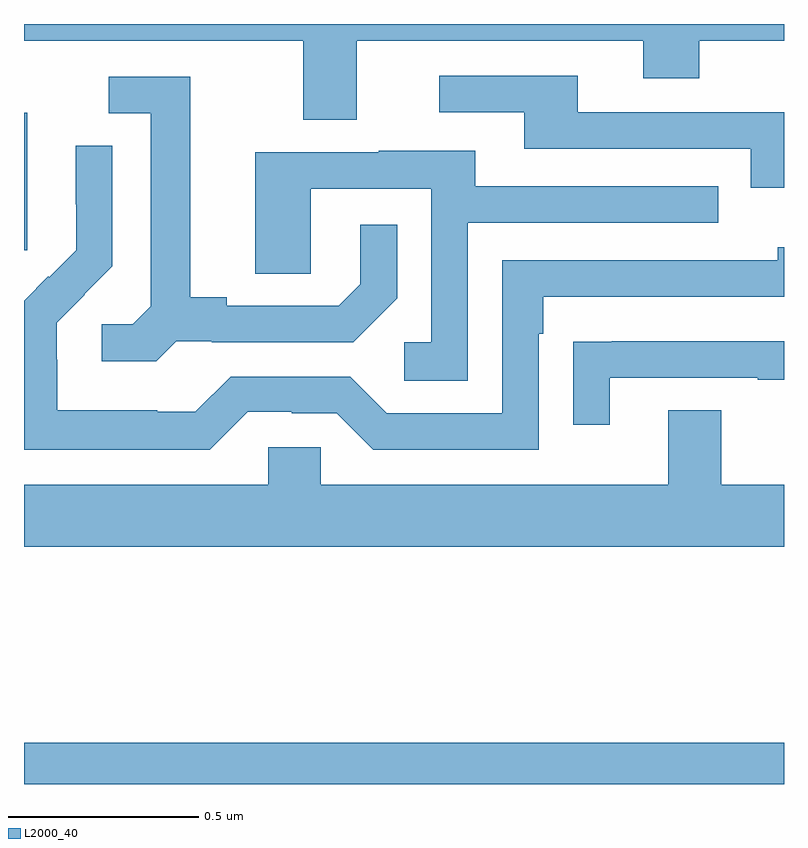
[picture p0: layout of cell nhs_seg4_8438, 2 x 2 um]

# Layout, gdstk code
import gdstk
lib = gdstk.Library(unit=1e-6, precision=1e-09)
def R(c, l, rs):  # rectangles x0, y0, x1, y1
    for r in rs: c.add(gdstk.rectangle(r[:2], r[2:], *l))
def P(c, l, *ps):  # polygons
    for p in ps: c.add(gdstk.Polygon(p, *l))
L2000_40 = (2000, 40)

nhs_seg4_8438 = lib.new_cell('nhs_seg4_8438')
R(nhs_seg4_8438, L2000_40, [(215,758.9,217,759.008), (215,760.305,215.008,760.666)])
P(nhs_seg4_8438, L2000_40, [(215.875,760.856),(216.629,760.856),(216.629,760.757),(216.777,760.757),(216.777,760.856),(217,760.856),(217,760.9),(215,760.9),(215,760.856),(215.735,760.856),(215.735,760.648),(215.875,760.648)],
  [(217,760.668),(216.457,760.668),(216.457,760.764),(216.093,760.764),(216.093,760.668),(216.317,760.668),(216.317,760.572),(216.912,760.572),(216.912,760.469),(217,760.469)],
  [(215.4,760.065),(215.494,760.065),(215.494,760.062),(215.866,760.062),(215.982,760.178),(215.982,760.372),(215.885,760.372),(215.885,760.215),(215.828,760.158),(215.533,760.158),(215.533,760.181),(215.437,760.181),(215.437,760.761),(215.223,760.761),(215.223,760.665),(215.333,760.665),(215.333,760.157),(215.286,760.11),(215.205,760.11),(215.205,760.013),(215.348,760.013)],
  [(215.589,759.879),(215.705,759.879),(215.705,759.876),(215.823,759.876),(215.919,759.78),(216.354,759.78),(216.354,760.085),(216.367,760.085),(216.367,760.182),(217,760.182),(217,760.312),(216.983,760.312),(216.983,760.278),(216.258,760.278),(216.258,759.876),(215.955,759.876),(215.859,759.972),(215.544,759.972),(215.451,759.879),(215.351,759.879),(215.351,759.883),(215.088,759.883),(215.088,760.017),(215.086,760.017),(215.086,760.114),(215.16,760.188),(215.159,760.189),(215.232,760.262),(215.232,760.58),(215.136,760.58),(215.136,760.426),(215.138,760.426),(215.138,760.304),(215.067,760.233),(215.064,760.236),(215,760.172),(215,759.779),(215.489,759.779)],
  [(216.168,760.377),(216.827,760.377),(216.827,760.473),(216.187,760.473),(216.187,760.567),(215.933,760.567),(215.933,760.563),(215.609,760.563),(215.609,760.243),(215.754,760.243),(215.754,760.467),(216.072,760.467),(216.072,760.062),(216,760.062),(216,759.961),(216.168,759.961)],
  [(216.541,759.969),(216.931,759.969),(216.931,759.964),(217,759.964),(217,760.065),(216.547,760.065),(216.547,760.064),(216.445,760.064),(216.445,759.846),(216.541,759.846)],
  [(217,759.688),(216.835,759.688),(216.835,759.883),(216.695,759.883),(216.695,759.688),(215.781,759.688),(215.781,759.786),(215.643,759.786),(215.643,759.688),(215,759.688),(215,759.524),(217,759.524)])

lib.write_gds('nhs_seg4_8438.gds')
